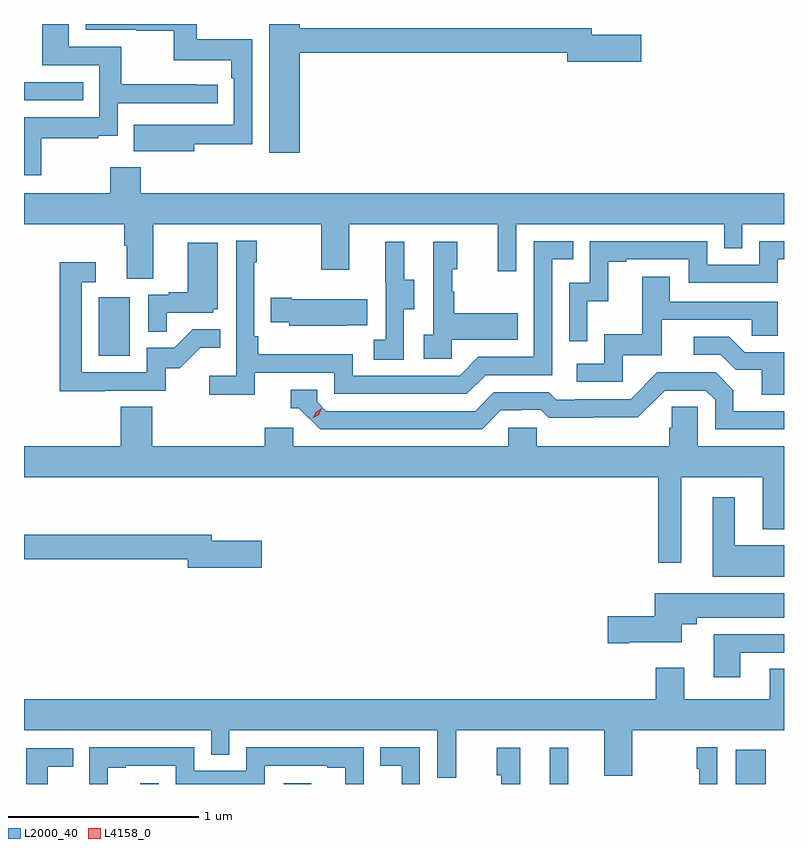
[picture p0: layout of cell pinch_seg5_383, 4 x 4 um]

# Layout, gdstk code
import gdstk
lib = gdstk.Library(unit=1e-6, precision=1e-09)
def R(c, l, rs):  # rectangles x0, y0, x1, y1
    for r in rs: c.add(gdstk.rectangle(r[:2], r[2:], *l))
def P(c, l, *ps):  # polygons
    for p in ps: c.add(gdstk.Polygon(p, *l))
L2000_40 = (2000, 40)
L4158_0 = (4158, 0)

pinch_seg5_383 = lib.new_cell('pinch_seg5_383')
R(pinch_seg5_383, L2000_40, [(974.507,864.47,974.604,864.475), (975.263,864.47,975.407,864.475), (976.661,864.47,976.76,864.661), (977.642,864.47,977.8,864.649), (974.288,866.724,974.452,867.031), (973.895,868.068,974.207,868.164)])
P(pinch_seg5_383, L2000_40, [(974.791,867.838),(975.096,867.838),(975.096,868.39),(974.803,868.39),(974.803,868.47),(974.22,868.47),(974.22,868.44),(974.485,868.44),(974.485,868.435),(974.682,868.435),(974.682,868.28),(974.987,868.28),(974.987,868.184),(975,868.184),(975,867.939),(974.687,867.939),(974.687,867.94),(974.473,867.94),(974.473,867.8),(974.791,867.8)],
  [(973.987,867.87),(974.285,867.87),(974.285,867.881),(974.388,867.881),(974.388,868.053),(974.914,868.053),(974.914,868.149),(974.801,868.149),(974.801,868.154),(974.408,868.154),(974.408,868.35),(974.131,868.35),(974.131,868.47),(973.991,868.47),(973.991,868.254),(974.292,868.254),(974.292,867.978),(973.895,867.978),(973.895,867.675),(973.987,867.675)],
  [(975.346,868.318),(976.754,868.318),(976.754,868.271),(977.143,868.271),(977.143,868.413),(976.882,868.413),(976.882,868.447),(975.346,868.447),(975.346,868.47),(975.185,868.47),(975.185,867.792),(975.346,867.792)],
  [(974.575,867.416),(975.46,867.416),(975.46,867.177),(975.607,867.177),(975.607,867.416),(976.388,867.416),(976.388,867.168),(976.485,867.168),(976.485,867.416),(977.58,867.416),(977.58,867.289),(977.676,867.289),(977.676,867.416),(977.895,867.416),(977.895,867.58),(974.51,867.58),(974.51,867.715),(974.35,867.715),(974.35,867.58),(973.895,867.58),(973.895,867.416),(974.423,867.416),(974.423,867.304),(974.435,867.304),(974.435,867.13),(974.575,867.13)],
  [(975.11,866.634),(975.528,866.634),(975.528,866.523),(976.225,866.523),(976.324,866.622),(976.674,866.622),(976.674,867.231),(976.787,867.231),(976.787,867.327),(976.578,867.327),(976.578,866.718),(976.287,866.718),(976.188,866.619),(975.624,866.619),(975.624,866.731),(975.128,866.731),(975.128,866.827),(975.108,866.827),(975.108,867.215),(975.121,867.215),(975.121,867.328),(975.012,867.328),(975.012,866.62),(974.871,866.62),(974.871,866.518),(975.11,866.518)],
  [(976.86,867.011),(976.97,867.011),(976.97,867.219),(977.065,867.219),(977.065,867.231),(977.394,867.231),(977.394,867.108),(977.862,867.108),(977.862,867.231),(977.895,867.231),(977.895,867.327),(977.766,867.327),(977.766,867.204),(977.49,867.204),(977.49,867.327),(976.872,867.327),(976.872,867.108),(976.764,867.108),(976.764,866.799),(976.86,866.799)],
  [(975.894,866.968),(975.949,866.968),(975.949,867.123),(975.895,867.123),(975.895,867.325),(975.797,867.325),(975.797,867.111),(975.798,867.111),(975.798,866.807),(975.735,866.807),(975.735,866.704),(975.894,866.704)],
  [(976.146,866.807),(976.493,866.807),(976.493,866.947),(976.159,866.947),(976.159,867.062),(976.149,867.062),(976.149,867.18),(976.174,867.18),(976.174,867.325),(976.05,867.325),(976.05,866.834),(975.999,866.834),(975.999,866.709),(976.146,866.709)],
  [(974.645,866.949),(974.892,866.949),(974.892,866.97),(974.914,866.97),(974.914,867.319),(974.756,867.319),(974.756,867.058),(974.657,867.058),(974.657,867.045),(974.55,867.045),(974.55,866.851),(974.645,866.851)],
  [(974.321,866.541),(974.64,866.541),(974.64,866.658),(974.716,866.658),(974.823,866.765),(974.927,866.765),(974.927,866.864),(974.783,866.864),(974.685,866.766),(974.541,866.766),(974.541,866.637),(974.199,866.637),(974.199,867.111),(974.272,867.111),(974.272,867.217),(974.083,867.217),(974.083,866.536),(974.321,866.536)],
  [(977.046,866.727),(977.251,866.727),(977.251,866.913),(977.725,866.913),(977.725,866.829),(977.862,866.829),(977.862,867.009),(977.293,867.009),(977.293,867.139),(977.149,867.139),(977.149,866.836),(976.95,866.836),(976.95,866.682),(976.803,866.682),(976.803,866.586),(977.046,866.586)],
  [(975.593,866.885),(975.701,866.885),(975.701,867.022),(975.304,867.022),(975.304,867.03),(975.193,867.03),(975.193,866.9),(975.291,866.9),(975.291,866.882),(975.593,866.882)],
  [(977.895,866.742),(977.689,866.742),(977.608,866.823),(977.421,866.823),(977.421,866.73),(977.562,866.73),(977.642,866.65),(977.777,866.65),(977.777,866.518),(977.895,866.518)],
  [(976.405,866.436),(976.512,866.436),(976.512,866.439),(976.615,866.439),(976.657,866.397),(976.89,866.397),(976.89,866.399),(977.126,866.399),(977.268,866.541),(977.484,866.541),(977.532,866.493),(977.532,866.337),(977.895,866.337),(977.895,866.433),(977.629,866.433),(977.629,866.543),(977.535,866.637),(977.229,866.637),(977.088,866.496),(976.795,866.496),(976.795,866.493),(976.696,866.493),(976.657,866.532),(976.368,866.532),(976.269,866.433),(975.486,866.433),(975.438,866.481),(975.438,866.544),(975.299,866.544),(975.299,866.448),(975.342,866.448),(975.453,866.337),(976.306,866.337)],
  [(977.353,866.084),(977.783,866.084),(977.783,865.811),(977.895,865.811),(977.895,866.248),(977.442,866.248),(977.442,866.456),(977.305,866.456),(977.305,866.346),(977.291,866.346),(977.291,866.248),(976.593,866.248),(976.593,866.346),(976.443,866.346),(976.443,866.248),(975.312,866.248),(975.312,866.346),(975.161,866.346),(975.161,866.248),(974.57,866.248),(974.57,866.456),(974.405,866.456),(974.405,866.248),(973.895,866.248),(973.895,866.084),(977.232,866.084),(977.232,865.635),(977.353,865.635)],
  [(977.895,865.726),(977.635,865.726),(977.635,865.978),(977.519,865.978),(977.519,865.562),(977.895,865.562)],
  [(975.145,865.749),(974.884,865.749),(974.884,865.783),(973.895,865.783),(973.895,865.654),(974.756,865.654),(974.756,865.607),(975.145,865.607)],
  [(977.08,865.217),(977.356,865.217),(977.356,865.31),(977.437,865.31),(977.437,865.346),(977.895,865.346),(977.895,865.474),(977.216,865.474),(977.216,865.352),(976.968,865.352),(976.968,865.21),(977.08,865.21)],
  [(977.665,865.161),(977.895,865.161),(977.895,865.257),(977.525,865.257),(977.525,865.032),(977.665,865.032)],
  [(976.169,864.752),(976.949,864.752),(976.949,864.513),(977.097,864.513),(977.097,864.752),(977.895,864.752),(977.895,865.076),(977.819,865.076),(977.819,864.916),(977.371,864.916),(977.371,865.081),(977.219,865.081),(977.219,864.916),(973.895,864.916),(973.895,864.752),(974.88,864.752),(974.88,864.625),(974.976,864.625),(974.976,864.752),(976.071,864.752),(976.071,864.504),(976.169,864.504)],
  [(977.544,864.664),(977.436,864.664),(977.436,864.551),(977.448,864.551),(977.448,864.47),(977.544,864.47)],
  [(975.978,864.663),(975.769,864.663),(975.769,864.567),(975.882,864.567),(975.882,864.47),(975.978,864.47)],
  [(974.335,864.555),(974.431,864.555),(974.431,864.567),(974.694,864.567),(974.694,864.47),(975.162,864.47),(975.162,864.567),(975.491,864.567),(975.491,864.555),(975.587,864.555),(975.587,864.47),(975.684,864.47),(975.684,864.663),(975.066,864.663),(975.066,864.54),(974.79,864.54),(974.79,864.663),(974.238,864.663),(974.238,864.47),(974.335,864.47)],
  [(976.506,864.661),(976.382,864.661),(976.382,864.516),(976.408,864.516),(976.408,864.47),(976.506,864.47)],
  [(974.019,864.56),(974.153,864.56),(974.153,864.657),(973.908,864.657),(973.908,864.47),(974.019,864.47)])
P(pinch_seg5_383, L4158_0, [(975.416,866.394),(975.416,866.394),(975.431,866.427),(975.461,866.447),(975.462,866.447),(975.462,866.447),(975.446,866.414),(975.416,866.394)])

lib.write_gds('pinch_seg5_383.gds')
